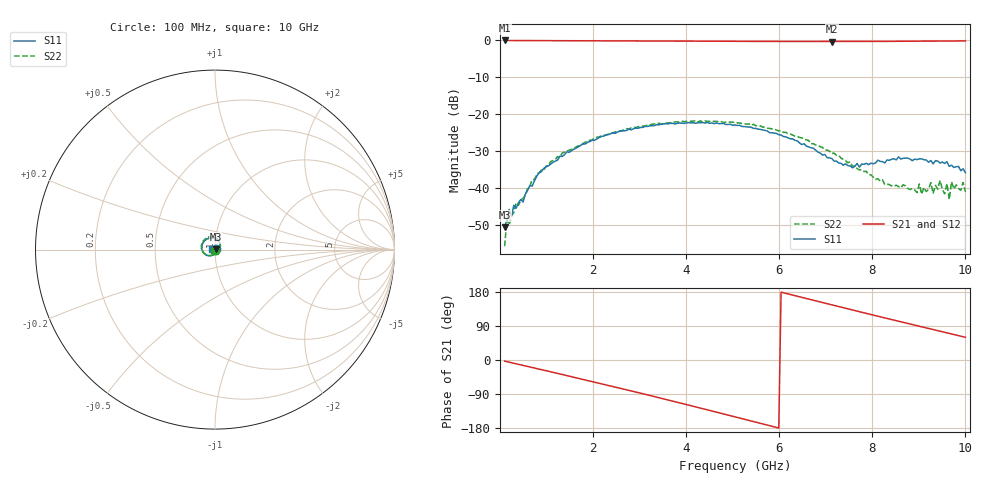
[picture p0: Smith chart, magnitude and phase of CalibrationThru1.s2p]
!Keysight Technologies,P9374A,MY57211810,A.19.30.04
!Date: Friday, April 25, 2025 09:19:09
!Correction: S11(Cdelta 2-Port  )
!S21(Cdelta 2-Port  )
!S12(Cdelta 2-Port  )
!S22(Cdelta 2-Port  )
!S2P File: Measurements: S11, S21, S12, S22:
# Hz S  dB  R 50
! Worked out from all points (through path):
!   201 points, 100 MHz to 10 GHz, reference 50 ohm
!   highest |S21| = -0.01 dB at 100 MHz (marker M1); lowest = -0.3 dB at 7.129 GHz (marker M2)
!   group delay of S21, straight-line fit = 84.3 ps
!   lowest |S11| = -50.5 dB at 100 MHz (marker M3), VSWR 1.01, Z = 50.3 + j0.0825 ohm
!   |S11| at or under -10 dB: start of sweep to end of sweep
!   |S22| runs from -55.6 to -21.7 dB; largest |S21 - S12| = 0.0065
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1e8  -50.54 16.0  -0.01 -3.0  -0.02 -2.9  -55.65 -19.5
1.495e8  -48.44 -0.5  -0.03 -4.4  -0.02 -4.4  -48.56 5.9
1.99e8  -45.69 -20.2  -0.03 -5.8  -0.03 -5.8  -49.87 -42.7
6.94e8  -39.37 -69.3  -0.06 -19.9  -0.05 -19.9  -37.66 -75.0
1.783e9  -28.03 -121.5  -0.10 -51.0  -0.10 -51.1  -27.90 -125.1
3.4165e9  -22.83 -179.1  -0.17 -99.5  -0.17 -99.6  -22.40 175.7
5.05e9  -22.86 118.4  -0.24 -150.1  -0.24 -150.2  -22.35 116.0
6.733e9  -29.17 28.6  -0.31 157.7  -0.30 157.5  -27.92 43.2
7.129e9  -31.93 -9.0  -0.31 145.6  -0.30 145.3  -30.62 27.6
7.5745e9  -34.46 -55.7  -0.29 132.0  -0.30 131.8  -34.09 1.6
8.3665e9  -32.44 -130.7  -0.26 108.2  -0.25 108.0  -39.03 -51.3
8.9605e9  -32.24 -162.0  -0.21 90.5  -0.21 90.3  -41.17 -86.9
9.01e9  -32.03 -158.6  -0.21 89.1  -0.21 88.8  -38.84 -91.0
9.0595e9  -32.04 -166.9  -0.20 87.6  -0.20 87.4  -41.59 -96.5
9.2575e9  -32.49 -170.6  -0.20 81.7  -0.19 81.5  -38.48 -107.8
9.307e9  -33.40 -170.8  -0.18 80.3  -0.19 80.0  -41.42 -109.6
9.4555e9  -33.18 -172.9  -0.17 75.9  -0.18 75.6  -37.86 -94.5
9.5545e9  -33.29 -173.3  -0.17 73.0  -0.17 72.7  -41.47 -91.0
9.604e9  -32.80 177.4  -0.17 71.5  -0.17 71.3  -38.72 -105.2
9.6535e9  -34.07 177.9  -0.16 70.1  -0.16 69.8  -43.03 -110.8
9.703e9  -33.75 179.8  -0.16 68.7  -0.16 68.4  -38.23 -99.9
1e10  -35.78 170.5  -0.14 60.0  -0.13 59.7  -40.93 -99.3
